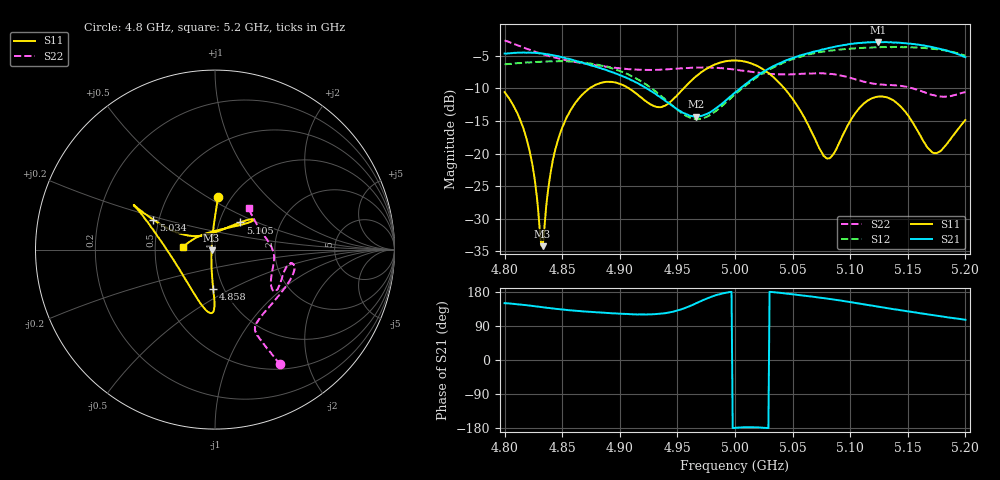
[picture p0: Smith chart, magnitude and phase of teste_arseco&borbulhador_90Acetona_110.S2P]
! Network Analyzer HP8722D
! Hewlett-Packard
! Data name: Linha & Wilkinson
! Saver's name: Rodrigo Anjos
! Comments: Teste da utilização de aquisição
! continua pelo VNA HP8722D
! Time and date: 17/4/2025 11:58
!  Frequency  S11  S21  S12  S22
# HZ  S  MA R 50
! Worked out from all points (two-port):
!   401 points, 4.8 GHz to 5.2 GHz, reference 50 ohm
!   highest |S21| = -2.90 dB at 5.124 GHz (marker M1); lowest = -14.3 dB at 4.966 GHz (marker M2)
!   |S21| within 3 dB of the highest: start of sweep to 4.864 GHz; 5.042 GHz to end of sweep
!   lowest |S11| = -34.2 dB at 4.833 GHz (marker M3), VSWR 1.04, Z = 48.1 - j0.385 ohm
!   |S11| at or under -10 dB: start of sweep to 4.874 GHz; 4.908 GHz to 4.955 GHz (47.63 MHz wide, 0.966 % of centre); 5.043 GHz to end of sweep
!   |S22| runs from -11.3 to -2.7 dB; largest |S21 - S12| = 1.3
!   S11 on the Smith chart (normalised r, x): 4.8 GHz: 0.87, +0.56; 4.858 GHz: 0.89, -0.41; 5.034 GHz: 0.47, +0.18; 5.105 GHz: 1.26, +0.40; 5.2 GHz: 0.69, +0.02
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4.8e9  0.2958 86.6  0.5847 150.0  0.4834 -111.6  0.7355 -60.4
4.811e9  0.2041 89.2  0.5924 147.1  0.4928 -111.4  0.6767 -61.2
4.82e9  0.1203 93.9  0.5934 144.4  0.5004 -110.9  0.631 -62.0
4.826e9  0.0648 103.1  0.5925 142.0  0.5028 -110.4  0.6049 -62.5
4.831e9  0.0231 141.1  0.5866 140.0  0.5049 -110.0  0.5851 -62.8
4.833e9  0.01951 -168.2  0.5833 139.4  0.506 -110.0  0.5773 -62.9
4.839e9  0.06308 -107.9  0.5729 137.2  0.5082 -109.5  0.5575 -63.3
4.843e9  0.09855 -101.4  0.565 135.5  0.5091 -109.4  0.5458 -63.4
4.858e9  0.2201 -92.5  0.5247 130.9  0.5074 -109.1  0.5084 -63.7
4.867e9  0.2804 -90.8  0.4977 128.6  0.5002 -109.5  0.4933 -63.2
4.898e9  0.3468 -97.0  0.4062 122.6  0.4343 -112.9  0.4521 -55.2
4.934e9  0.2267 -148.4  0.2743 121.8  0.2863 -115.9  0.4381 -34.7
4.966e9  0.3889 159.3  0.1923 149.5  0.1839 -87.2  0.4555 -17.8
5e9  0.5173 151.2  0.2925 -179.2  0.2848 -49.4  0.4389 -10.2
5.034e9  0.3812 154.1  0.4709 178.8  0.4609 -44.0  0.406 -16.0
5.067e9  0.144 148.4  0.5997 167.1  0.5829 -47.4  0.4108 -30.0
5.082e9  0.09203 100.1  0.6458 161.2  0.6131 -50.3  0.4082 -34.4
5.105e9  0.2069 47.1  0.6986 150.3  0.6407 -55.3  0.369 -32.2
5.124e9  0.2728 38.3  0.7158 140.9  0.653 -61.1  0.3396 -19.9
5.134e9  0.2648 37.4  0.7099 136.0  0.6536 -64.3  0.3356 -12.3
5.173e9  0.1008 102.5  0.6489 117.8  0.6333 -78.1  0.2796 20.5
5.2e9  0.1806 175.7  0.5476 106.2  0.5625 -87.3  0.2962 50.9
